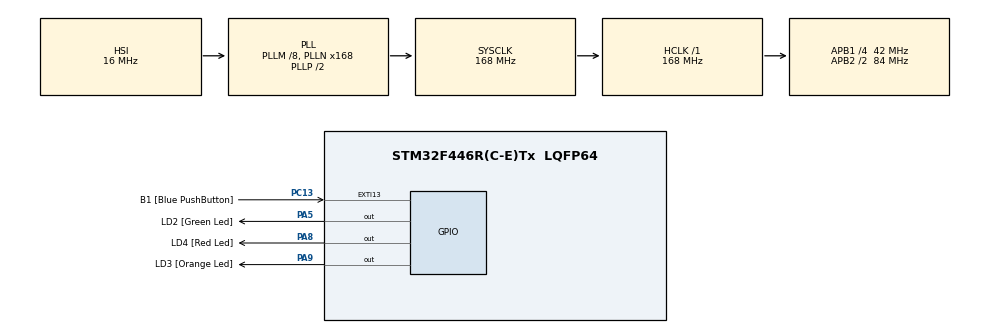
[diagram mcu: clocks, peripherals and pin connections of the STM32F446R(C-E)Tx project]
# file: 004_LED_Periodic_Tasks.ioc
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Mcu.Family=STM32F4
Mcu.Name=STM32F446R(C-E)Tx
Mcu.Package=LQFP64
NVIC.PriorityGroup=NVIC_PRIORITYGROUP_4
NVIC.TIM5_IRQn=true\:15\:0\:false\:false\:true\:false\:true\:true
NVIC.TimeBase=TIM5_IRQn
NVIC.TimeBaseIP=TIM5
PA13.GPIO_Label=TMS
PA13.Signal=SYS_JTMS-SWDIO
PA14.GPIO_Label=TCK
PA14.Signal=SYS_JTCK-SWCLK
PA2.GPIO_Label=USART_TX
PA2.Signal=USART2_TX
PA3.GPIO_Label=USART_RX
PA3.Signal=USART2_RX
PA5.GPIO_Label=LD2 [Green Led]
PA5.Signal=GPIO_Output
PA8.GPIO_Label=LD4 [Red Led]
PA8.Signal=GPIO_Output
PA9.GPIO_Label=LD3 [Orange Led]
PA9.Signal=GPIO_Output
PB3.GPIO_Label=SWO
PB3.Signal=SYS_JTDO-SWO
PC13.GPIO_Label=B1 [Blue PushButton]
PC13.GPIO_ModeDefaultEXTI=GPIO_MODE_IT_FALLING
PC13.Signal=GPXTI13
PC14-OSC32_IN.Signal=RCC_OSC32_IN
PC15-OSC32_OUT.Signal=RCC_OSC32_OUT
PH0-OSC_IN.Signal=RCC_OSC_IN
PH1-OSC_OUT.Signal=RCC_OSC_OUT
ProjectManager.HeapSize=0x200
ProjectManager.StackSize=0x400
ProjectManager.TargetToolchain=STM32CubeIDE
RCC.AHBFreq_Value=168000000
RCC.APB1CLKDivider=RCC_HCLK_DIV4
RCC.APB1Freq_Value=42000000
RCC.APB1TimFreq_Value=84000000
RCC.APB2CLKDivider=RCC_HCLK_DIV2
RCC.APB2Freq_Value=84000000
RCC.APB2TimFreq_Value=168000000
RCC.CortexFreq_Value=168000000
RCC.FLatency-AdvancedSettings=FLASH_LATENCY_5
RCC.HCLKFreq_Value=168000000
RCC.HSE_VALUE=8000000
RCC.HSI_VALUE=16000000
RCC.LSE_VALUE=32768
RCC.PLLM=8
RCC.PLLN=168
RCC.SYSCLKFreq_VALUE=168000000
RCC.SYSCLKSource=RCC_SYSCLKSOURCE_PLLCLK
RCC.USBFreq_Value=168000000
RCC.VCOOutputFreq_Value=336000000
VP_SYS_VS_tim5.Mode=TIM5
board=NUCLEO-F446RE

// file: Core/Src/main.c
/* USER CODE BEGIN Header */
/**
  ******************************************************************************
  * @file           : main.c
  * @brief          : Main program body
  ******************************************************************************
  * @attention
  *
  * Copyright (c) 2023 STMicroelectronics.
  * All rights reserved.
  *
  * This software is licensed under terms that can be found in the LICENSE file
  * in the root directory of this software component.
  * If no LICENSE file comes with this software, it is provided AS-IS.
  *
  ******************************************************************************
  */
/* USER CODE END Header */
#include "main.h"

/* USER CODE BEGIN Includes */

#include "FreeRTOS.h"
#include "task.h"

/* USER CODE END Includes */

/* USER CODE BEGIN PD */

#define DWT_CTRL    (*(volatile uint32_t*)0xE0001000)

/* USER CODE END PD */

void SystemClock_Config(void);
static void MX_GPIO_Init(void);
/* USER CODE BEGIN PFP */

static void led_green_handler(void* parameters);
static void led_orange_handler(void* parameters);
static void led_red_handler(void* parameters);

extern void SEGGER_UART_init(uint32_t);

/* USER CODE END PFP */

int main(void)
{
  /* USER CODE BEGIN 1 */

	TaskHandle_t task1_handle;
	TaskHandle_t task2_handle;
	TaskHandle_t task3_handle;

	BaseType_t status;

  /* USER CODE END 1 */

  /* MCU Configuration--------------------------------------------------------*/

  /* Reset of all peripherals, Initializes the Flash interface and the Systick. */
  HAL_Init();

  /* Configure the system clock */
  SystemClock_Config();

  /* Initialize all configured peripherals */
  MX_GPIO_Init();
  /* USER CODE BEGIN 2 */

  SEGGER_UART_init(500000);

  // CYCLCNT enable
  DWT_CTRL |= (1<<0);

  SEGGER_SYSVIEW_Conf();

  status = xTaskCreate(led_green_handler, "LED_green_task", 200, NULL, 2, &task1_handle);

  configASSERT(status == pdPASS);

  status = xTaskCreate(led_orange_handler, "LED_orange_task", 200, NULL, 2, &task2_handle);

  configASSERT(status == pdPASS);

  status = xTaskCreate(led_red_handler, "LED_red_task", 200, NULL, 2, &task3_handle);

  configASSERT(status == pdPASS);

  // Start the freeRTOS scheduler
  vTaskStartScheduler();

  /* USER CODE END 2 */

  /* Infinite loop */
  while (1)
  {

  }
}

void SystemClock_Config(void)
{
  RCC_OscInitTypeDef RCC_OscInitStruct = {0};
  RCC_ClkInitTypeDef RCC_ClkInitStruct = {0};

  /** Configure the main internal regulator output voltage
  */
  __HAL_RCC_PWR_CLK_ENABLE();
  __HAL_PWR_VOLTAGESCALING_CONFIG(PWR_REGULATOR_VOLTAGE_SCALE1);

  /** Initializes the RCC Oscillators according to the specified parameters
  * in the RCC_OscInitTypeDef structure.
  */
  RCC_OscInitStruct.OscillatorType = RCC_OSCILLATORTYPE_HSI;
  RCC_OscInitStruct.HSIState = RCC_HSI_ON;
  RCC_OscInitStruct.HSICalibrationValue = RCC_HSICALIBRATION_DEFAULT;
  RCC_OscInitStruct.PLL.PLLState = RCC_PLL_ON;
  RCC_OscInitStruct.PLL.PLLSource = RCC_PLLSOURCE_HSI;
  RCC_OscInitStruct.PLL.PLLM = 8;
  RCC_OscInitStruct.PLL.PLLN = 168;
  RCC_OscInitStruct.PLL.PLLP = RCC_PLLP_DIV2;
  RCC_OscInitStruct.PLL.PLLQ = 2;
  RCC_OscInitStruct.PLL.PLLR = 2;
  if (HAL_RCC_OscConfig(&RCC_OscInitStruct) != HAL_OK)
  {
    Error_Handler();
  }

  /** Initializes the CPU, AHB and APB buses clocks
  */
  RCC_ClkInitStruct.ClockType = RCC_CLOCKTYPE_HCLK|RCC_CLOCKTYPE_SYSCLK
                              |RCC_CLOCKTYPE_PCLK1|RCC_CLOCKTYPE_PCLK2;
  RCC_ClkInitStruct.SYSCLKSource = RCC_SYSCLKSOURCE_PLLCLK;
  RCC_ClkInitStruct.AHBCLKDivider = RCC_SYSCLK_DIV1;
  RCC_ClkInitStruct.APB1CLKDivider = RCC_HCLK_DIV4;
  RCC_ClkInitStruct.APB2CLKDivider = RCC_HCLK_DIV2;

  if (HAL_RCC_ClockConfig(&RCC_ClkInitStruct, FLASH_LATENCY_5) != HAL_OK)
  {
    Error_Handler();
  }
}

static void MX_GPIO_Init(void)
{
  GPIO_InitTypeDef GPIO_InitStruct = {0};

  /* GPIO Ports Clock Enable */
  __HAL_RCC_GPIOC_CLK_ENABLE();
  __HAL_RCC_GPIOH_CLK_ENABLE();
  __HAL_RCC_GPIOA_CLK_ENABLE();
  __HAL_RCC_GPIOB_CLK_ENABLE();

  /*Configure GPIO pin Output Level */
  HAL_GPIO_WritePin(GPIOA, LD2_Pin|LD4_Pin|LD3_Pin, GPIO_PIN_RESET);

  /*Configure GPIO pin : B1_Pin */
  GPIO_InitStruct.Pin = B1_Pin;
  GPIO_InitStruct.Mode = GPIO_MODE_IT_FALLING;
  GPIO_InitStruct.Pull = GPIO_NOPULL;
  HAL_GPIO_Init(B1_GPIO_Port, &GPIO_InitStruct);

  /*Configure GPIO pins : USART_TX_Pin USART_RX_Pin */
  GPIO_InitStruct.Pin = USART_TX_Pin|USART_RX_Pin;
  GPIO_InitStruct.Mode = GPIO_MODE_AF_PP;
  GPIO_InitStruct.Pull = GPIO_NOPULL;
  GPIO_InitStruct.Speed = GPIO_SPEED_FREQ_VERY_HIGH;
  GPIO_InitStruct.Alternate = GPIO_AF7_USART2;
  HAL_GPIO_Init(GPIOA, &GPIO_InitStruct);

  /*Configure GPIO pins : LD2_Pin LD4_Pin LD3_Pin */
  GPIO_InitStruct.Pin = LD2_Pin|LD4_Pin|LD3_Pin;
  GPIO_InitStruct.Mode = GPIO_MODE_OUTPUT_PP;
  GPIO_InitStruct.Pull = GPIO_NOPULL;
  GPIO_InitStruct.Speed = GPIO_SPEED_FREQ_LOW;
  HAL_GPIO_Init(GPIOA, &GPIO_InitStruct);

}

/* USER CODE BEGIN 4 */

static void led_green_handler(void* parameters){

	TickType_t last_wakeup_time;
	last_wakeup_time = xTaskGetTickCount();

	while(1){
		SEGGER_SYSVIEW_PrintfTarget("Toggling Green LED");
		HAL_GPIO_TogglePin(GPIOA, LED_GREEN_PIN);
//		HAL_Delay(1000);
//		vTaskDelay(pdMS_TO_TICKS(1000));
		vTaskDelayUntil(&last_wakeup_time, pdMS_TO_TICKS(1000));
	}
}

static void led_orange_handler(void* parameters){

	TickType_t last_wakeup_time;
	last_wakeup_time = xTaskGetTickCount();

	while(1){
		SEGGER_SYSVIEW_PrintfTarget("Toggling Orange LED");
		HAL_GPIO_TogglePin(GPIOA, LED_ORANGE_PIN);
//		HAL_Delay(800);
//		vTaskDelay(pdMS_TO_TICKS(800));
		vTaskDelayUntil(&last_wakeup_time, pdMS_TO_TICKS(800));
	}
}

static void led_red_handler(void* parameters){

	TickType_t last_wakeup_time;
	last_wakeup_time = xTaskGetTickCount();

	while(1){
		SEGGER_SYSVIEW_PrintfTarget("Toggling Red LED");
		HAL_GPIO_TogglePin(GPIOA, LED_RED_PIN);
//		HAL_Delay(400);
//		vTaskDelay(pdMS_TO_TICKS(400));
		vTaskDelayUntil(&last_wakeup_time, pdMS_TO_TICKS(400));
	}
}

/* USER CODE END 4 */

void HAL_TIM_PeriodElapsedCallback(TIM_HandleTypeDef *htim)
{
  if (htim->Instance == TIM5) {
    HAL_IncTick();
  }
}

void Error_Handler(void)
{
  __disable_irq();
  while (1)
  {
  }
}
